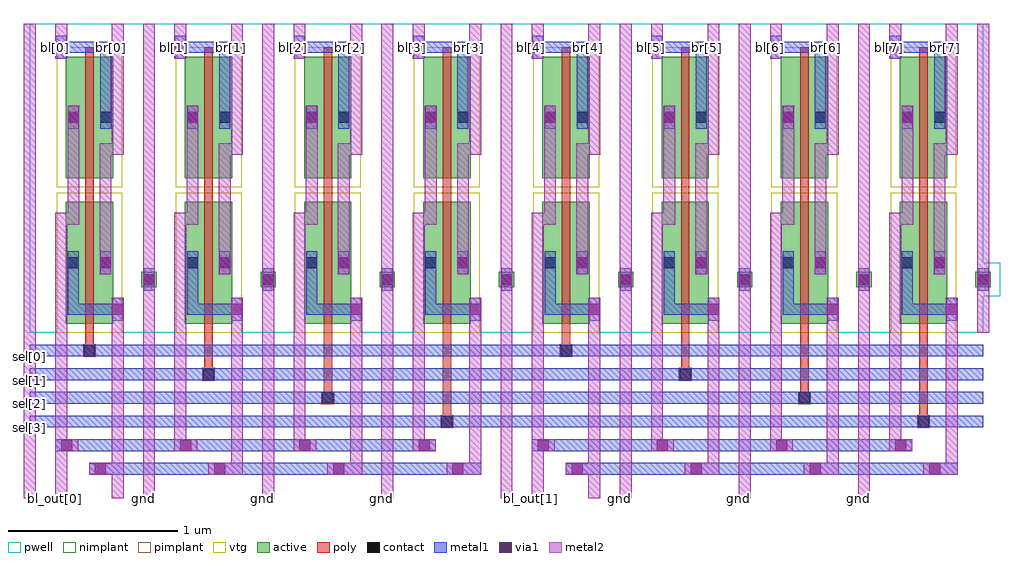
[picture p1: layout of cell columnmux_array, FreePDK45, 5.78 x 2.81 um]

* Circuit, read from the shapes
.subckt columnmux_array bl[0] bl[1] bl[2] bl[3] bl[4] bl[5] bl[6] bl[7] bl_out[0] bl_out[1] br[0] br[1] br[2] br[3] br[4] br[5] br[6] br[7] br_out[0] br_out[1] gnd sel[0] sel[1] sel[2] sel[3]
M1 br[0] sel[0] br_out[0] gnd nfet w=0.72u l=0.05u
M2 bl[0] sel[0] bl_out[0] gnd nfet w=0.72u l=0.05u
M3 br[1] sel[1] br_out[0] gnd nfet w=0.72u l=0.05u
M4 bl[1] sel[1] bl_out[0] gnd nfet w=0.72u l=0.05u
M5 br[2] sel[2] br_out[0] gnd nfet w=0.72u l=0.05u
M6 bl[2] sel[2] bl_out[0] gnd nfet w=0.72u l=0.05u
M7 br[3] sel[3] br_out[0] gnd nfet w=0.72u l=0.05u
M8 bl[3] sel[3] bl_out[0] gnd nfet w=0.72u l=0.05u
M9 br[4] sel[0] br_out[1] gnd nfet w=0.72u l=0.05u
M10 bl[4] sel[0] bl_out[1] gnd nfet w=0.72u l=0.05u
M11 br[5] sel[1] br_out[1] gnd nfet w=0.72u l=0.05u
M12 bl[5] sel[1] bl_out[1] gnd nfet w=0.72u l=0.05u
M13 br[6] sel[2] br_out[1] gnd nfet w=0.72u l=0.05u
M14 bl[6] sel[2] bl_out[1] gnd nfet w=0.72u l=0.05u
M15 br[7] sel[3] br_out[1] gnd nfet w=0.72u l=0.05u
M16 bl[7] sel[3] bl_out[1] gnd nfet w=0.72u l=0.05u
.ends

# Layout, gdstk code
from math import pi, radians
import gdstk
lib = gdstk.Library(unit=1e-6, precision=5e-10)
def R(c, l, rs):  # rectangles x0, y0, x1, y1
    for r in rs: c.add(gdstk.rectangle(r[:2], r[2:], *l))
def A(c, l, x, y, w, h, nx, ny, dx, dy):  # array of equal rectangles
    R(c, l, [(x+i*dx, y+j*dy, x+i*dx+w, y+j*dy+h) for i in range(nx) for j in range(ny)])
active = (1, 0)
pwell = (2, 0)
nimplant = (4, 0)
pimplant = (5, 0)
vtg = (6, 0)
poly = (9, 0)
contact = (10, 0)
metal1 = (11, 0)
via1 = (12, 0)
metal2 = (13, 0)

active_contact_metal1_1x = lib.new_cell('active_contact_metal1_1x1_np')
R(active_contact_metal1_1x, active, [(0,0.0225,0.09,0.1125)])
R(active_contact_metal1_1x, pwell, [(-0.055,-0.0325,0.145,0.1675)])
R(active_contact_metal1_1x, nimplant, [(0,0.0225,0.09,0.1125)])
R(active_contact_metal1_1x, contact, [(0.0125,0.035,0.0775,0.1)])
R(active_contact_metal1_1x, metal1, [(0.0125,0,0.0775,0.135)])

nmos_m1_w0_72 = lib.new_cell('nmos_m1_w0_72')
R(nmos_m1_w0_72, active, [(0,0,0.28,0.72)])
R(nmos_m1_w0_72, pwell, [(-0.055,-0.055,0.335,0.775)])
R(nmos_m1_w0_72, nimplant, [(0,0,0.28,0.72)])
R(nmos_m1_w0_72, vtg, [(-0.055,-0.055,0.335,0.775)])
R(nmos_m1_w0_72, poly, [(0.115,-0.055,0.165,0.775), (0.115,-0.055,0.165,0.775)])
R(nmos_m1_w0_72, metal1, [(0.0125,0.2925,0.0775,0.4275), (0.2025,0.2925,0.2675,0.4275)])
nmos_m1_w0_72.add(gdstk.Reference(active_contact_metal1_1x, (0,0.2925)))
nmos_m1_w0_72.add(gdstk.Reference(active_contact_metal1_1x, (0.19,0.2925)))
nmos_m1_w0_72.add(gdstk.Label('S', (0.0125,0.2925), layer=11, texttype=0))
nmos_m1_w0_72.add(gdstk.Label('D', (0.2025,0.2925), layer=11, texttype=0))
nmos_m1_w0_72.add(gdstk.Label('G', (0.115,-0.055), layer=9, texttype=0))

metal1_via1_metal2_1x1 = lib.new_cell('metal1_via1_metal2_1x1')
R(metal1_via1_metal2_1x1, metal1, [(0.0025,0,0.0675,0.135)])
R(metal1_via1_metal2_1x1, via1, [(0.0025,0.035,0.0675,0.1)])
R(metal1_via1_metal2_1x1, metal2, [(0,0,0.07,0.135)])

c_active_contact_metal1_1x = lib.new_cell('active_contact_metal1_1x1_pp')
R(c_active_contact_metal1_1x, active, [(0,0.0225,0.09,0.1125)])
R(c_active_contact_metal1_1x, pwell, [(-0.055,-0.0325,0.145,0.1675)])
R(c_active_contact_metal1_1x, pimplant, [(0,0.0225,0.09,0.1125)])
R(c_active_contact_metal1_1x, contact, [(0.0125,0.035,0.0775,0.1)])
R(c_active_contact_metal1_1x, metal1, [(0.0125,0,0.0775,0.135)])

single_level_column_mux_ = lib.new_cell('single_level_column_mux_8')
R(single_level_column_mux_, poly, [(0.3275,0,0.3775,1.69)])
R(single_level_column_mux_, metal1, [(0.225,0.1075,0.29,0.1725), (0.2575,0.1075,0.52,0.1725), (0.225,0.14,0.29,0.415), (0.415,1.275,0.48,1.69), (0.15,1.6575,0.4475,1.7225), (0.415,1.6575,0.48,1.7225)])
R(single_level_column_mux_, metal2, [(-0.035,0,0.035,1.83), (0.15,0,0.22,0.14), (0.485,0,0.555,0.14), (0.67,0,0.74,1.83), (0.15,0.14,0.22,0.675), (0.4125,0.4825,0.4825,1.0875), (0.15,0.64,0.22,0.71), (0.185,0.64,0.2575,0.71), (0.2225,0.64,0.2925,0.71), (0.2225,0.675,0.2925,1.2075), (0.4125,1.0525,0.4825,1.1225), (0.4475,1.0525,0.52,1.1225), (0.485,1.0525,0.555,1.1225), (0.485,1.0875,0.555,1.69), (0.15,1.69,0.22,1.83), (0.485,1.69,0.555,1.83)])
single_level_column_mux_.add(gdstk.Reference(nmos_m1_w0_72, (0.2125,0.055)))
single_level_column_mux_.add(gdstk.Reference(nmos_m1_w0_72, (0.2125,0.915)))
single_level_column_mux_.add(gdstk.Reference(metal1_via1_metal2_1x1, (0.15,1.6225)))
single_level_column_mux_.add(gdstk.Reference(metal1_via1_metal2_1x1, (0.485,0.0725)))
single_level_column_mux_.add(gdstk.Reference(metal1_via1_metal2_1x1, (0.2225,1.2075)))
single_level_column_mux_.add(gdstk.Reference(metal1_via1_metal2_1x1, (0.4125,0.3475)))
single_level_column_mux_.add(gdstk.Reference(metal1_via1_metal2_1x1, (0.67,0.2475)))
single_level_column_mux_.add(gdstk.Reference(c_active_contact_metal1_1x, (0.66,0.2475)))
single_level_column_mux_.add(gdstk.Label('bl_out', (0.15,0), layer=13, texttype=0))
single_level_column_mux_.add(gdstk.Label('gnd', (-0.035,0), layer=13, texttype=0))
single_level_column_mux_.add(gdstk.Label('gnd', (0.67,0), layer=13, texttype=0))
single_level_column_mux_.add(gdstk.Label('br_out', (0.485,0), layer=13, texttype=0))
single_level_column_mux_.add(gdstk.Label('bl', (0.15,1.69), layer=13, texttype=0))
single_level_column_mux_.add(gdstk.Label('br', (0.485,1.69), layer=13, texttype=0))
single_level_column_mux_.add(gdstk.Label('sel', (0.3275,0), layer=9, texttype=0))

metal1_contact_poly_1x1 = lib.new_cell('metal1_contact_poly_1x1')
R(metal1_contact_poly_1x1, poly, [(0,0.03,0.075,0.105)])
R(metal1_contact_poly_1x1, contact, [(0.005,0.035,0.07,0.1)])
R(metal1_contact_poly_1x1, metal1, [(0.005,0,0.07,0.135)])

columnmux_array = lib.new_cell('columnmux_array')
R(columnmux_array, pwell, [(0,0.98,5.64,2.81)])
R(columnmux_array, poly, [(2.4425,0.455,2.4925,0.98), (5.2625,0.455,5.3125,0.98), (1.7375,0.595,1.7875,0.98), (4.5575,0.595,4.6075,0.98), (1.0325,0.735,1.0825,0.98), (3.8525,0.735,3.9025,0.98), (0.3275,0.875,0.3775,0.98), (3.1475,0.875,3.1975,0.98)])
A(columnmux_array, metal1, 0, 0.42, 5.64, 0.07, 1, 4, 0, 0.14)
R(columnmux_array, metal1, [(0.485,0.14,2.67,0.21), (3.305,0.14,5.49,0.21), (0.15,0.28,2.335,0.35), (2.97,0.28,5.155,0.35)])
A(columnmux_array, metal2, -0.035, 0, 0.07, 2.81, 8, 1, 0.705, 0)
A(columnmux_array, metal2, 1.19, 0.14, 0.07, 0.84, 3, 1, 0.705, 0)
A(columnmux_array, metal2, 4.01, 0.14, 0.07, 0.84, 3, 1, 0.705, 0)
A(columnmux_array, metal2, 0.855, 0.28, 0.07, 0.7, 3, 1, 0.705, 0)
A(columnmux_array, metal2, 3.675, 0.28, 0.07, 0.7, 3, 1, 0.705, 0)
R(columnmux_array, metal2, [(0.15,0,0.22,0.98), (0.485,0,0.555,0.98), (2.97,0,3.04,0.98), (3.305,0,3.375,0.98), (0.15,2.67,0.22,2.81), (0.485,2.67,0.555,2.81), (0.855,2.67,0.925,2.81), (1.19,2.67,1.26,2.81), (1.56,2.67,1.63,2.81), (1.895,2.67,1.965,2.81), (2.265,2.67,2.335,2.81), (2.6,2.67,2.67,2.81), (2.97,2.67,3.04,2.81), (3.305,2.67,3.375,2.81), (3.675,2.67,3.745,2.81), (4.01,2.67,4.08,2.81), (4.38,2.67,4.45,2.81), (4.715,2.67,4.785,2.81), (5.085,2.67,5.155,2.81), (5.42,2.67,5.49,2.81)])
columnmux_array.add(gdstk.Reference(single_level_column_mux_, (0,0.98)))
columnmux_array.add(gdstk.Reference(single_level_column_mux_, (0.705,0.98)))
columnmux_array.add(gdstk.Reference(single_level_column_mux_, (1.41,0.98)))
columnmux_array.add(gdstk.Reference(single_level_column_mux_, (2.115,0.98)))
columnmux_array.add(gdstk.Reference(single_level_column_mux_, (2.82,0.98)))
columnmux_array.add(gdstk.Reference(single_level_column_mux_, (3.525,0.98)))
columnmux_array.add(gdstk.Reference(single_level_column_mux_, (4.23,0.98)))
columnmux_array.add(gdstk.Reference(single_level_column_mux_, (4.935,0.98)))
columnmux_array.add(gdstk.Reference(metal1_contact_poly_1x1, (0.42,0.8375), rotation=pi/2))
columnmux_array.add(gdstk.Reference(metal1_contact_poly_1x1, (1.125,0.6975), rotation=pi/2))
columnmux_array.add(gdstk.Reference(metal1_contact_poly_1x1, (1.83,0.5575), rotation=pi/2))
columnmux_array.add(gdstk.Reference(metal1_contact_poly_1x1, (2.535,0.4175), rotation=pi/2))
columnmux_array.add(gdstk.Reference(metal1_contact_poly_1x1, (3.24,0.8375), rotation=pi/2))
columnmux_array.add(gdstk.Reference(metal1_contact_poly_1x1, (3.945,0.6975), rotation=pi/2))
columnmux_array.add(gdstk.Reference(metal1_contact_poly_1x1, (4.65,0.5575), rotation=pi/2))
columnmux_array.add(gdstk.Reference(metal1_contact_poly_1x1, (5.355,0.4175), rotation=pi/2))
columnmux_array.add(gdstk.Reference(metal1_via1_metal2_1x1, (0.285,0.28), rotation=pi/2))
columnmux_array.add(gdstk.Reference(metal1_via1_metal2_1x1, (0.485,0.14), rotation=pi/2))
columnmux_array.add(gdstk.Reference(metal1_via1_metal2_1x1, (0.99,0.28), rotation=pi/2))
columnmux_array.add(gdstk.Reference(metal1_via1_metal2_1x1, (1.19,0.14), rotation=pi/2))
columnmux_array.add(gdstk.Reference(metal1_via1_metal2_1x1, (1.695,0.28), rotation=pi/2))
columnmux_array.add(gdstk.Reference(metal1_via1_metal2_1x1, (1.895,0.14), rotation=pi/2))
columnmux_array.add(gdstk.Reference(metal1_via1_metal2_1x1, (2.4,0.28), rotation=pi/2))
columnmux_array.add(gdstk.Reference(metal1_via1_metal2_1x1, (2.6,0.14), rotation=pi/2))
columnmux_array.add(gdstk.Reference(metal1_via1_metal2_1x1, (3.105,0.28), rotation=pi/2))
columnmux_array.add(gdstk.Reference(metal1_via1_metal2_1x1, (3.305,0.14), rotation=pi/2))
columnmux_array.add(gdstk.Reference(metal1_via1_metal2_1x1, (3.81,0.28), rotation=pi/2))
columnmux_array.add(gdstk.Reference(metal1_via1_metal2_1x1, (4.01,0.14), rotation=pi/2))
columnmux_array.add(gdstk.Reference(metal1_via1_metal2_1x1, (4.515,0.28), rotation=pi/2))
columnmux_array.add(gdstk.Reference(metal1_via1_metal2_1x1, (4.715,0.14), rotation=pi/2))
columnmux_array.add(gdstk.Reference(metal1_via1_metal2_1x1, (5.22,0.28), rotation=pi/2))
columnmux_array.add(gdstk.Reference(metal1_via1_metal2_1x1, (5.42,0.14), rotation=pi/2))
columnmux_array.add(gdstk.Label('sel[1]', (0,0.7), layer=11, texttype=0))
columnmux_array.add(gdstk.Label('sel[3]', (0,0.42), layer=11, texttype=0))
columnmux_array.add(gdstk.Label('br[2]', (1.895,2.67), layer=13, texttype=0))
columnmux_array.add(gdstk.Label('br[6]', (4.715,2.67), layer=13, texttype=0))
columnmux_array.add(gdstk.Label('br[0]', (0.485,2.67), layer=13, texttype=0))
columnmux_array.add(gdstk.Label('br[4]', (3.305,2.67), layer=13, texttype=0))
columnmux_array.add(gdstk.Label('bl[1]', (0.855,2.67), layer=13, texttype=0))
columnmux_array.add(gdstk.Label('bl_out[1]', (2.97,0), layer=13, texttype=0))
columnmux_array.add(gdstk.Label('bl[3]', (2.265,2.67), layer=13, texttype=0))
columnmux_array.add(gdstk.Label('bl[7]', (5.085,2.67), layer=13, texttype=0))
columnmux_array.add(gdstk.Label('bl[5]', (3.675,2.67), layer=13, texttype=0))
columnmux_array.add(gdstk.Label('br_out[1]', (3.305,0), layer=13, texttype=0))
columnmux_array.add(gdstk.Label('sel[0]', (0,0.84), layer=11, texttype=0))
columnmux_array.add(gdstk.Label('br[3]', (2.6,2.67), layer=13, texttype=0))
columnmux_array.add(gdstk.Label('br[1]', (1.19,2.67), layer=13, texttype=0))
columnmux_array.add(gdstk.Label('br[5]', (4.01,2.67), layer=13, texttype=0))
columnmux_array.add(gdstk.Label('bl_out[0]', (0.15,0), layer=13, texttype=0))
columnmux_array.add(gdstk.Label('br[7]', (5.42,2.67), layer=13, texttype=0))
columnmux_array.add(gdstk.Label('bl[0]', (0.15,2.67), layer=13, texttype=0))
columnmux_array.add(gdstk.Label('bl[4]', (2.97,2.67), layer=13, texttype=0))
columnmux_array.add(gdstk.Label('bl[2]', (1.56,2.67), layer=13, texttype=0))
columnmux_array.add(gdstk.Label('bl[6]', (4.38,2.67), layer=13, texttype=0))
columnmux_array.add(gdstk.Label('gnd', (-0.035,0), layer=13, texttype=0))
columnmux_array.add(gdstk.Label('gnd', (0.67,0), layer=13, texttype=0))
columnmux_array.add(gdstk.Label('gnd', (1.375,0), layer=13, texttype=0))
columnmux_array.add(gdstk.Label('gnd', (2.08,0), layer=13, texttype=0))
columnmux_array.add(gdstk.Label('gnd', (2.785,0), layer=13, texttype=0))
columnmux_array.add(gdstk.Label('gnd', (3.49,0), layer=13, texttype=0))
columnmux_array.add(gdstk.Label('gnd', (4.195,0), layer=13, texttype=0))
columnmux_array.add(gdstk.Label('gnd', (4.9,0), layer=13, texttype=0))
columnmux_array.add(gdstk.Label('sel[2]', (0,0.56), layer=11, texttype=0))
columnmux_array.add(gdstk.Label('br_out[0]', (0.485,0), layer=13, texttype=0))

lib.write_gds('columnmux_array.gds')
